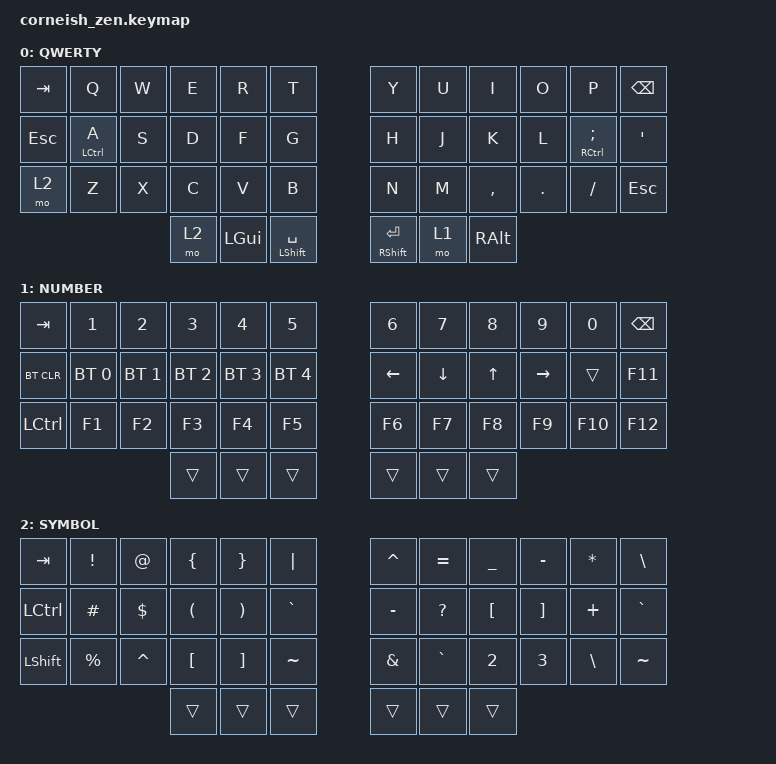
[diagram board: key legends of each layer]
#include <behaviors.dtsi>
#include <dt-bindings/zmk/keys.h>
#include <dt-bindings/zmk/bt.h>

/ {
  chosen {
    zmk,matrix_transform = &default_transform;
    //zmk,matrix_transform = &five_column_transform;
  };
};

&mt {
	tapping-term-ms = <150>;    
	quick-tap-ms = <0>;
	flavor = "tap-preferred";
};

/ {
        keymap {
                compatible = "zmk,keymap";

                default_layer {
                        label = "QWERTY";
// -----------------------------------------------------------------------------------------
// | TAB |  Q  |  W  |  E  |  R  |  T  |   |  Y  |  U   |  I  |  O  |  P  | BKSP |
// | ESC |  A  |  S  |  D  |  F  |  G  |   |  H  |  J   |  K  |  L  |  ;  |  '   |
// | RSE |  Z  |  X  |  C  |  V  |  B  |   |  N  |  M   |  ,  |  .  |  /  | ESC  |
//                    | RSE | GUI | SPC |   | ENT | LWR  | RALT |
                        bindings = <
   &kp TAB   &kp Q &kp W &kp E &kp R &kp T   &kp Y &kp U  &kp I     &kp O   &kp P    &kp BSPC
   &kp ESC &mt LCTRL A &kp S &kp D &kp F &kp G   &kp H &kp J  &kp K     &kp L   &mt RCTRL SEMI &kp SQT
   &mo 2  &kp Z &kp X &kp C &kp V &kp B   &kp N &kp M  &kp COMMA &kp DOT &kp FSLH &kp ESC
                   &mo 2 &kp LGUI &mt LSHFT SPACE   &mt RSHFT RET &mo 1 &kp RALT
                        >;
                };
                lower_layer {
                        label = "NUMBER";
// -----------------------------------------------------------------------------------------
// |  TAB |  1  |  2  |  3  |  4  |  5  |   |  6  |  7  |  8  |  9  |  0  | BKSP |
// | BTCLR| BT1 | BT2 | BT3 | BT4 | BT5 |   | LFT | DWN |  UP | RGT |     | F11  |
// | CTRL | F1  | F2  | F3  | F4  | F5  |   | F6  | F7  | F8  | F9  | F10 | F12  |
//                    | GUI |     | SPC |   | ENT |     | ALT |
                        bindings = <
   &kp TAB    &kp N1       &kp N2       &kp N3       &kp N4       &kp N5         &kp N6   &kp N7   &kp N8 &kp N9    &kp N0  &kp BSPC
   &bt BT_CLR &bt BT_SEL 0 &bt BT_SEL 1 &bt BT_SEL 2 &bt BT_SEL 3 &bt BT_SEL 4   &kp LEFT &kp DOWN &kp UP &kp RIGHT &trans  &kp F11
   &kp LCTRL  &kp F1       &kp F2       &kp F3       &kp F4      &kp F5          &kp F6   &kp F7   &kp F8 &kp F9    &kp F10 &kp F12
                 &trans     &trans       &trans      &trans  &trans   &trans
                        >;
                };

                raise_layer {
                        label = "SYMBOL";
// -----------------------------------------------------------------------------------------
// |  TAB |  !  |  @  |  {  |  }  | "|" |   |  ^  |  =  |  _  |  -  |  *  | BKSP |
// | CTRL |  #  |  $  |  (  |  )  |  `  |   |  -  |  ?  |  <  |  >  |  +  |  `   |
// | SHFT |  %  |  ^  |  [  |  ]  |  ~  |   |  &  |  `  |  2  |  3  | "\" |  ~   |
//                    | GUI |     | SPC |   | ENT |     | ALT |
                        bindings = <
   &kp TAB   &kp EXCL  &kp AT    &kp LBRC &kp RBRC &kp PIPE       &kp CARET &kp EQUAL &kp UNDER &kp MINUS &kp STAR &kp BSLH
   &kp LCTRL &kp HASH  &kp DLLR  &kp LPAR &kp RPAR &kp GRAVE      &kp MINUS &kp QMARK &kp LBKT  &kp RBKT &kp PLUS &kp GRAVE
   &kp LSHFT &kp PRCNT &kp CARET &kp LBKT &kp RBKT &kp TILDE      &kp AMPS  &kp GRAVE &kp N2    &kp N3   &kp BSLH &kp TILDE
                 &trans     &trans       &trans      &trans  &trans   &trans
                        >;
                };
        };
};

